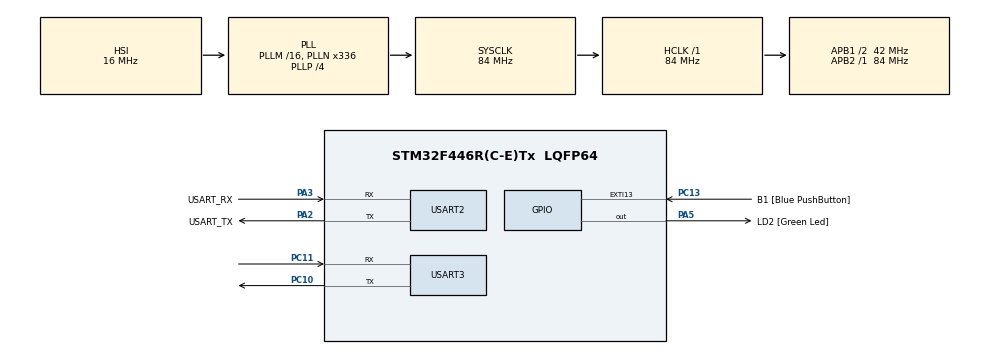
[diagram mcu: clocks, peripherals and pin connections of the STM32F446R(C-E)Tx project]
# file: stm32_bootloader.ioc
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Mcu.Family=STM32F4
Mcu.Name=STM32F446R(C-E)Tx
Mcu.Package=LQFP64
NVIC.PriorityGroup=NVIC_PRIORITYGROUP_0
PA13.GPIO_Label=TMS
PA13.Mode=Serial_Wire
PA13.Signal=SYS_JTMS-SWDIO
PA14.GPIO_Label=TCK
PA14.Mode=Serial_Wire
PA14.Signal=SYS_JTCK-SWCLK
PA2.GPIO_Label=USART_TX
PA2.Mode=Asynchronous
PA2.Signal=USART2_TX
PA3.GPIO_Label=USART_RX
PA3.Mode=Asynchronous
PA3.Signal=USART2_RX
PA5.GPIO_Label=LD2 [Green Led]
PA5.Signal=GPIO_Output
PB3.GPIO_Label=SWO
PB3.Signal=SYS_JTDO-SWO
PC10.Mode=Asynchronous
PC10.Signal=USART3_TX
PC11.Mode=Asynchronous
PC11.Signal=USART3_RX
PC13.GPIO_Label=B1 [Blue PushButton]
PC13.GPIO_ModeDefaultEXTI=GPIO_MODE_IT_FALLING
PC13.Signal=GPXTI13
PC14-OSC32_IN.Signal=RCC_OSC32_IN
PC15-OSC32_OUT.Signal=RCC_OSC32_OUT
PH0-OSC_IN.Signal=RCC_OSC_IN
PH1-OSC_OUT.Signal=RCC_OSC_OUT
ProjectManager.HeapSize=0x200
ProjectManager.StackSize=0x400
ProjectManager.TargetToolchain=MDK-ARM V5
RCC.48MHZClocksFreq_Value=84000000
RCC.AHBFreq_Value=84000000
RCC.APB1CLKDivider=RCC_HCLK_DIV2
RCC.APB1Freq_Value=42000000
RCC.APB1TimFreq_Value=84000000
RCC.APB2Freq_Value=84000000
RCC.APB2TimFreq_Value=84000000
RCC.CortexFreq_Value=84000000
RCC.FLatency-AdvancedSettings=FLASH_LATENCY_2
RCC.HCLKFreq_Value=84000000
RCC.HSE_VALUE=8000000
RCC.HSI_VALUE=16000000
RCC.PLLN=336
RCC.PLLP=RCC_PLLP_DIV4
RCC.SYSCLKFreq_VALUE=84000000
RCC.SYSCLKSource=RCC_SYSCLKSOURCE_PLLCLK
RCC.USBFreq_Value=168000000
RCC.VCOOutputFreq_Value=336000000
USART2.VirtualMode=VM_ASYNC
USART3.VirtualMode=VM_ASYNC
VP_CRC_VS_CRC.Mode=CRC_Activate
board=NUCLEO-F446RE

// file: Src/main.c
/* USER CODE BEGIN Header */
/**
  ******************************************************************************
  * @file           : main.c
  * @brief          : Main program body
  ******************************************************************************
  * @attention
  *
  * <h2><center>&copy; Copyright (c) 2020 STMicroelectronics.
  * All rights reserved.</center></h2>
  *
  * This software component is licensed by ST under BSD 3-Clause license,
  * the "License"; You may not use this file except in compliance with the
  * License. You may obtain a copy of the License at:
  *                        opensource.org/licenses/BSD-3-Clause
  *
  ******************************************************************************
  */
/* USER CODE END Header */

#include "main.h"

/* USER CODE BEGIN Includes */
#include <string.h>
#include <stdarg.h>
#include <stdio.h>
/* USER CODE END Includes */

/* USER CODE BEGIN PM */
/*****enable debubuffer ***********/
#define BL_DEBUG_MSG_EN
#define FLASH_2_SECTOR_BASE_ADD		0x08008000

/* USER CODE END PM */

CRC_HandleTypeDef hcrc;

UART_HandleTypeDef huart2;
UART_HandleTypeDef huart3;

#define DUART   &huart3
#define CUART		&huart2

void SystemClock_Config(void);
static void MX_GPIO_Init(void);
static void MX_USART2_UART_Init(void);
static void MX_CRC_Init(void);
static void MX_USART3_UART_Init(void);
/* USER CODE BEGIN PFP */
 void printmsg(char *format,...);

void Debuggermsg(char *pBuffer)
{
	uint32_t len=strlen(pBuffer);
	HAL_UART_Transmit(&huart3,(uint8_t*)pBuffer,len,HAL_MAX_DELAY);
}
/* USER CODE END PFP */

int main(void)
{

  /* MCU Configuration--------------------------------------------------------*/

  /* Reset of all peripherals, Initializes the Flash interface and the Systick. */
  HAL_Init();

  /* Configure the system clock */
  SystemClock_Config();

  /* Initialize all configured peripherals */
  MX_GPIO_Init();
  MX_USART2_UART_Init();
  MX_CRC_Init();
  MX_USART3_UART_Init();
  /* USER CODE BEGIN 2 */
    if(HAL_GPIO_ReadPin(B1_GPIO_Port,B1_Pin)==GPIO_PIN_RESET)
		{
			printmsg("Button is pressed going to bootloader mode\n\r");
			bootloader_uart_read_data();
		}
		else
		{
			printmsg("Button isnot pressed execute user code\n\r");
			bootloader_jump_to_user_code();

		}
  /* USER CODE END 2 */

  /* Infinite loop */
  while (1)
  {

  }

}

void SystemClock_Config(void)
{
  RCC_OscInitTypeDef RCC_OscInitStruct = {0};
  RCC_ClkInitTypeDef RCC_ClkInitStruct = {0};

  /** Configure the main internal regulator output voltage
  */
  __HAL_RCC_PWR_CLK_ENABLE();
  __HAL_PWR_VOLTAGESCALING_CONFIG(PWR_REGULATOR_VOLTAGE_SCALE3);
  /** Initializes the CPU, AHB and APB busses clocks
  */
  RCC_OscInitStruct.OscillatorType = RCC_OSCILLATORTYPE_HSI;
  RCC_OscInitStruct.HSIState = RCC_HSI_ON;
  RCC_OscInitStruct.HSICalibrationValue = RCC_HSICALIBRATION_DEFAULT;
  RCC_OscInitStruct.PLL.PLLState = RCC_PLL_ON;
  RCC_OscInitStruct.PLL.PLLSource = RCC_PLLSOURCE_HSI;
  RCC_OscInitStruct.PLL.PLLM = 16;
  RCC_OscInitStruct.PLL.PLLN = 336;
  RCC_OscInitStruct.PLL.PLLP = RCC_PLLP_DIV4;
  RCC_OscInitStruct.PLL.PLLQ = 2;
  RCC_OscInitStruct.PLL.PLLR = 2;
  if (HAL_RCC_OscConfig(&RCC_OscInitStruct) != HAL_OK)
  {
    Error_Handler();
  }
  /** Initializes the CPU, AHB and APB busses clocks
  */
  RCC_ClkInitStruct.ClockType = RCC_CLOCKTYPE_HCLK|RCC_CLOCKTYPE_SYSCLK
                              |RCC_CLOCKTYPE_PCLK1|RCC_CLOCKTYPE_PCLK2;
  RCC_ClkInitStruct.SYSCLKSource = RCC_SYSCLKSOURCE_PLLCLK;
  RCC_ClkInitStruct.AHBCLKDivider = RCC_SYSCLK_DIV1;
  RCC_ClkInitStruct.APB1CLKDivider = RCC_HCLK_DIV2;
  RCC_ClkInitStruct.APB2CLKDivider = RCC_HCLK_DIV1;

  if (HAL_RCC_ClockConfig(&RCC_ClkInitStruct, FLASH_LATENCY_2) != HAL_OK)
  {
    Error_Handler();
  }
}

static void MX_CRC_Init(void)
{

  hcrc.Instance = CRC;
  if (HAL_CRC_Init(&hcrc) != HAL_OK)
  {
    Error_Handler();
  }

}

static void MX_USART2_UART_Init(void)
{

  huart2.Instance = USART2;
  huart2.Init.BaudRate = 115200;
  huart2.Init.WordLength = UART_WORDLENGTH_8B;
  huart2.Init.StopBits = UART_STOPBITS_1;
  huart2.Init.Parity = UART_PARITY_NONE;
  huart2.Init.Mode = UART_MODE_TX_RX;
  huart2.Init.HwFlowCtl = UART_HWCONTROL_NONE;
  huart2.Init.OverSampling = UART_OVERSAMPLING_16;
  if (HAL_UART_Init(&huart2) != HAL_OK)
  {
    Error_Handler();
  }

}

static void MX_USART3_UART_Init(void)
{

  huart3.Instance = USART3;
  huart3.Init.BaudRate = 115200;
  huart3.Init.WordLength = UART_WORDLENGTH_8B;
  huart3.Init.StopBits = UART_STOPBITS_1;
  huart3.Init.Parity = UART_PARITY_NONE;
  huart3.Init.Mode = UART_MODE_TX_RX;
  huart3.Init.HwFlowCtl = UART_HWCONTROL_NONE;
  huart3.Init.OverSampling = UART_OVERSAMPLING_16;
  if (HAL_UART_Init(&huart3) != HAL_OK)
  {
    Error_Handler();
  }

}

static void MX_GPIO_Init(void)
{
  GPIO_InitTypeDef GPIO_InitStruct = {0};

  /* GPIO Ports Clock Enable */
  __HAL_RCC_GPIOC_CLK_ENABLE();
  __HAL_RCC_GPIOH_CLK_ENABLE();
  __HAL_RCC_GPIOA_CLK_ENABLE();
  __HAL_RCC_GPIOB_CLK_ENABLE();

  /*Configure GPIO pin Output Level */
  HAL_GPIO_WritePin(LD2_GPIO_Port, LD2_Pin, GPIO_PIN_RESET);

  /*Configure GPIO pin : B1_Pin */
  GPIO_InitStruct.Pin = B1_Pin;
  GPIO_InitStruct.Mode = GPIO_MODE_IT_FALLING;
  GPIO_InitStruct.Pull = GPIO_NOPULL;
  HAL_GPIO_Init(B1_GPIO_Port, &GPIO_InitStruct);

  /*Configure GPIO pin : LD2_Pin */
  GPIO_InitStruct.Pin = LD2_Pin;
  GPIO_InitStruct.Mode = GPIO_MODE_OUTPUT_PP;
  GPIO_InitStruct.Pull = GPIO_NOPULL;
  GPIO_InitStruct.Speed = GPIO_SPEED_FREQ_LOW;
  HAL_GPIO_Init(LD2_GPIO_Port, &GPIO_InitStruct);

}

/* USER CODE BEGIN 4 */

void printmsg(char *format,...)
{
	#ifdef BL_DEBUG_MSG_EN
	char str[80];
	/*Extract the argument list using VA apis */
	va_list args;
	va_start(args,format);
	vsprintf(str,format,args);
	HAL_UART_Transmit(DUART,(uint8_t*)str,strlen(str),HAL_MAX_DELAY);
	va_end(args);

	#endif
}
uint8_t BL_COMMAND_RCV_BUFFER[30];
void bootloader_uart_read_data()
{
	printmsg("wellcome to command line \n\r");
 uint32_t len;

	while(1)
	{
		memset(BL_COMMAND_RCV_BUFFER,0,sizeof(BL_COMMAND_RCV_BUFFER));
	  //first recieve no of bytes need to read
		HAL_UART_Receive(CUART,&BL_COMMAND_RCV_BUFFER[0],1,HAL_MAX_DELAY);
		len=BL_COMMAND_RCV_BUFFER[0];
	//recived the command

	HAL_UART_Receive(CUART,&BL_COMMAND_RCV_BUFFER[1],len,HAL_MAX_DELAY);

	switch(BL_COMMAND_RCV_BUFFER[1])
	{
		case BL_GET_VER:
			{
			bootloader_get_ver(BL_COMMAND_RCV_BUFFER);
			break;
			}
		case BL_GET_HELP:
			{
			bootloader_get_help(BL_COMMAND_RCV_BUFFER);
			break;
			}
		case BL_GET_CID:
			{
			bootloader_get_cid(BL_COMMAND_RCV_BUFFER);
			break;
			}
		case BL_GET_RDP_STATUS:
			{
			bootloader_get_rdp_status(BL_COMMAND_RCV_BUFFER);
			break;
			}
		case BL_GO_TO_ADDR:
			{
			bootloader_jump_to_addr(BL_COMMAND_RCV_BUFFER);
			break;
			}
		case BL_FLASH_ERASE:
			{
			bootloader_do_flash_erase(BL_COMMAND_RCV_BUFFER);
			break;
			}
		case BL_MEM_WRITE:
			{
			bootloader_do_mem_write(BL_COMMAND_RCV_BUFFER);
			break;
			}
		case BL_EN_R_W_PROTECT:
			{
			bootloader_do_en_r_w_protect(BL_COMMAND_RCV_BUFFER);
			break;
			}
		case BL_MEM_READ:
			{
			bootloader_get_mem_read(BL_COMMAND_RCV_BUFFER);
			break;
			}
		case BL_READ_SECTOR_STATUS:
			{
			bootloader_get_read_sector_status(BL_COMMAND_RCV_BUFFER);
			break;
			}
		case BL_OTP_READ:
			{
			bootloader_get_otp_read(BL_COMMAND_RCV_BUFFER);
			break;
			}
		case BL_DIS_R_W_PROTECT:
			{
			bootloader_do_dis_r_w_protect(BL_COMMAND_RCV_BUFFER);
			break;
			}
		default:
			printmsg("Invalid command code recived from host\n\r");
			break;
	}
 }
}

void bootloader_jump_to_user_code()
{
	void(* app_reset_handler)(void);
	printmsg("jump to user apps\n\r");

	uint32_t msp_value= *(volatile uint32_t*)(FLASH_2_SECTOR_BASE_ADD);
	printmsg("msb value : %x\n\r",msp_value);
	__set_MSP(msp_value);

	uint32_t resethandler=*((volatile uint32_t*)(FLASH_2_SECTOR_BASE_ADD+4));

	app_reset_handler=(void*)resethandler;

	printmsg("app_reset_handler : %x\n\r",resethandler);

	//jump to user
	app_reset_handler();

}

/* USER CODE END 4 */

void Error_Handler(void)
{
}

/************************ (C) COPYRIGHT STMicroelectronics *****END OF FILE****/
